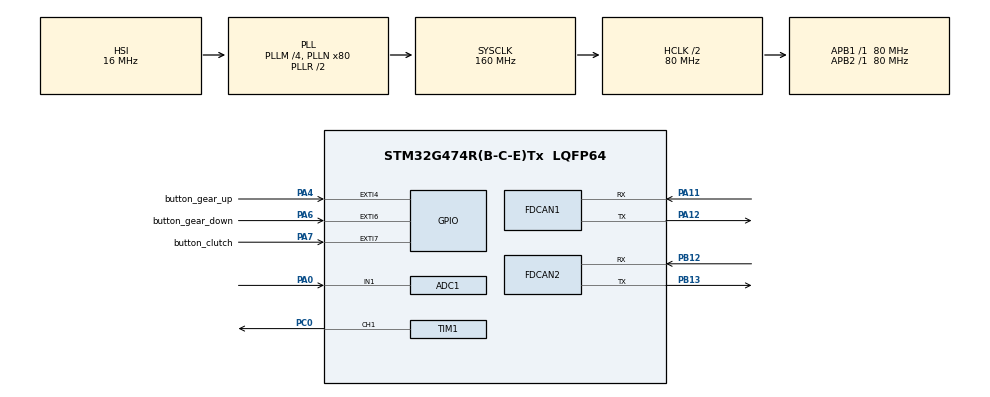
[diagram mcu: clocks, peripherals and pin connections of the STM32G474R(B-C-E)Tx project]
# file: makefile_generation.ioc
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ADC1.Channel-4\#ChannelRegularConversion=ADC_CHANNEL_1
ADC1.ContinuousConvMode=ENABLE
ADC1.NbrOfConversionFlag=1
ADC1.OffsetNumber-4\#ChannelRegularConversion=ADC_OFFSET_NONE
ADC1.Overrun=ADC_OVR_DATA_OVERWRITTEN
ADC1.Rank-4\#ChannelRegularConversion=1
ADC1.SamplingTime-4\#ChannelRegularConversion=ADC_SAMPLETIME_2CYCLES_5
ADC1.master=1
Dma.Request0=TIM1_CH1
Dma.TIM1_CH1.0.Direction=DMA_MEMORY_TO_PERIPH
Dma.TIM1_CH1.0.EventEnable=DISABLE
Dma.TIM1_CH1.0.Instance=DMA1_Channel1
Dma.TIM1_CH1.0.MemDataAlignment=DMA_MDATAALIGN_HALFWORD
Dma.TIM1_CH1.0.MemInc=DMA_MINC_ENABLE
Dma.TIM1_CH1.0.Mode=DMA_NORMAL
Dma.TIM1_CH1.0.PeriphDataAlignment=DMA_PDATAALIGN_HALFWORD
Dma.TIM1_CH1.0.PeriphInc=DMA_PINC_DISABLE
Dma.TIM1_CH1.0.Polarity=HAL_DMAMUX_REQ_GEN_RISING
Dma.TIM1_CH1.0.Priority=DMA_PRIORITY_HIGH
Dma.TIM1_CH1.0.RequestNumber=1
Dma.TIM1_CH1.0.SignalID=NONE
Dma.TIM1_CH1.0.SyncEnable=DISABLE
Dma.TIM1_CH1.0.SyncPolarity=HAL_DMAMUX_SYNC_NO_EVENT
Dma.TIM1_CH1.0.SyncRequestNumber=1
Dma.TIM1_CH1.0.SyncSignalID=NONE
FDCAN1.AutoRetransmission=ENABLE
FDCAN1.CalculateBaudRateNominal=500000
FDCAN1.CalculateTimeBitNominal=2000
FDCAN1.CalculateTimeQuantumNominal=100.0
FDCAN1.DataTimeSeg1=15
FDCAN1.DataTimeSeg2=4
FDCAN1.Mode=FDCAN_MODE_EXTERNAL_LOOPBACK
FDCAN1.NominalPrescaler=8
FDCAN1.NominalTimeSeg1=15
FDCAN1.NominalTimeSeg2=4
FDCAN2.CalculateBaudRateNominal=500000
FDCAN2.CalculateTimeBitNominal=2000
FDCAN2.CalculateTimeQuantumNominal=100.0
FDCAN2.DataTimeSeg1=15
FDCAN2.DataTimeSeg2=4
FDCAN2.Mode=FDCAN_MODE_BUS_MONITORING
FDCAN2.NominalPrescaler=8
FDCAN2.NominalTimeSeg1=15
FDCAN2.NominalTimeSeg2=4
Mcu.Family=STM32G4
Mcu.Name=STM32G474R(B-C-E)Tx
Mcu.Package=LQFP64
NUCLEO-G474RE.BUTTON=1
NUCLEO-G474RE.LD2=true
NUCLEO-G474RE.VCP=true
NVIC.DMA1_Channel1_IRQn=true\:0\:0\:false\:false\:true\:false\:true\:true
NVIC.EXTI15_10_IRQn=true\:0\:0\:false\:false\:true\:false\:true\:true
NVIC.EXTI4_IRQn=true\:0\:0\:false\:false\:true\:true\:true\:true
NVIC.EXTI9_5_IRQn=true\:0\:0\:false\:false\:true\:true\:true\:true
NVIC.FDCAN1_IT0_IRQn=true\:0\:0\:false\:false\:true\:true\:true\:true
NVIC.FDCAN2_IT0_IRQn=true\:0\:0\:false\:false\:true\:true\:true\:true
NVIC.PriorityGroup=NVIC_PRIORITYGROUP_4
PA0.Mode=IN1-Single-Ended
PA0.Signal=ADC1_IN1
PA11.Mode=FDCAN_Activate
PA11.Signal=FDCAN1_RX
PA12.Mode=FDCAN_Activate
PA12.Signal=FDCAN1_TX
PA13.GPIO_Label=T_SWDIO
PA13.Signal=SYS_JTMS-SWDIO
PA14.GPIO_Label=T_SWCLK
PA14.Signal=SYS_JTCK-SWCLK
PA2.Signal=LPUART1_TX
PA3.Signal=LPUART1_RX
PA4.GPIO_Label=button_gear_up
PA4.GPIO_ModeDefaultEXTI=GPIO_MODE_IT_RISING
PA4.GPIO_PuPd=GPIO_PULLDOWN
PA4.Signal=GPXTI4
PA6.GPIO_Label=button_gear_down
PA6.GPIO_PuPd=GPIO_PULLDOWN
PA6.Signal=GPXTI6
PA7.GPIO_Label=button_clutch
PA7.GPIO_ModeDefaultEXTI=GPIO_MODE_IT_RISING_FALLING
PA7.GPIO_PuPd=GPIO_PULLDOWN
PA7.Signal=GPXTI7
PB12.Mode=FDCAN_Activate
PB12.Signal=FDCAN2_RX
PB13.Mode=FDCAN_Activate
PB13.Signal=FDCAN2_TX
PB3.GPIO_Label=T_SWO
PB3.Signal=SYS_JTDO-SWO
PC0.Signal=S_TIM1_CH1
PC14-OSC32_IN.GPIO_Label=RCC_OSC32_IN
PC14-OSC32_IN.Signal=RCC_OSC32_IN
PC15-OSC32_OUT.GPIO_Label=RCC_OSC32_OUT
PC15-OSC32_OUT.Signal=RCC_OSC32_OUT
PF0-OSC_IN.GPIO_Label=RCC_OSC_IN
PF0-OSC_IN.Signal=RCC_OSC_IN
PF1-OSC_OUT.GPIO_Label=RCC_OSC_OUT
PF1-OSC_OUT.Signal=RCC_OSC_OUT
ProjectManager.HeapSize=0x200
ProjectManager.StackSize=0x400
ProjectManager.TargetToolchain=Makefile
RCC.ADC12Freq_Value=160000000
RCC.ADC345Freq_Value=160000000
RCC.AHBCLKDivider=RCC_SYSCLK_DIV2
RCC.AHBFreq_Value=80000000
RCC.APB1Freq_Value=80000000
RCC.APB1TimFreq_Value=80000000
RCC.APB2Freq_Value=80000000
RCC.APB2TimFreq_Value=80000000
RCC.CortexFreq_Value=80000000
RCC.EXTERNAL_CLOCK_VALUE=12288000
RCC.HCLKFreq_Value=80000000
RCC.HSE_VALUE=24000000
RCC.HSI48_VALUE=48000000
RCC.HSI_VALUE=16000000
RCC.LSE_VALUE=32768
RCC.PLLM=RCC_PLLM_DIV4
RCC.PLLN=80
RCC.RTCClockSelection=RCC_RTCCLKSOURCE_LSE
RCC.SYSCLKFreq_VALUE=160000000
RCC.SYSCLKSource=RCC_SYSCLKSOURCE_PLLCLK
RCC.USBFreq_Value=160000000
RCC.VCOOutputFreq_Value=320000000
SH.S_TIM1_CH1.0=TIM1_CH1,PWM Generation1 CH1
TIM1.Channel-PWM\ Generation1\ CH1=TIM_CHANNEL_1
TIM1.PeriodNoDither=99
VP_NUCLEO-G474RE_VS_BSP_COMMON.Mode=COMMON
VP_SYS_VS_DBSignals.Mode=DisableDeadBatterySignals
board=NUCLEO-G474RE

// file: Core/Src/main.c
/* USER CODE BEGIN Header */
/**
  ******************************************************************************
  * @file           : main.c
  * @brief          : Main program body
  ******************************************************************************
  * @attention
  *
  * Copyright (c) 2026 STMicroelectronics.
  * All rights reserved.
  *
  * This software is licensed under terms that can be found in the LICENSE file
  * in the root directory of this software component.
  * If no LICENSE file comes with this software, it is provided AS-IS.
  *
  ******************************************************************************
  */
/* USER CODE END Header */
#include "main.h"

/* USER CODE BEGIN Includes */
#include "led.h"
#include "rev_match.h"
#include "stm32g4xx_hal_gpio.h"
#include "can.h"
#include <stdint.h>
/* USER CODE END Includes */

COM_InitTypeDef BspCOMInit;
ADC_HandleTypeDef hadc1;

FDCAN_HandleTypeDef hfdcan1;
FDCAN_HandleTypeDef hfdcan2;

TIM_HandleTypeDef htim1;
DMA_HandleTypeDef hdma_tim1_ch1;

/* USER CODE BEGIN PV */

//CAN debug variables
uint32_t send_tracker = 0;
volatile uint32_t receive_tracker = 0;
volatile uint32_t tx_free_level;

FDCAN_RxHeaderTypeDef RxHeader;
uint8_t RxData[8];
volatile uint8_t new_can_msg_flag = 0;
bool isError = false;
bool debounce_prevented = false;

uint8_t tx_fifo_full_error = 0;     // Flips to 1 when TX FIFO runs out of room
uint32_t tx_fail_count = 0;         // Tracks total failed transmission attempts
uint32_t fdcan_last_error_code = 0; // Captures HAL error return value

//led strip variables
uint16_t led_index = 20;

//adc variables
uint32_t adc_val;

//rev match global variable instantiation
uint8_t current_gear = FIRST_GEAR;
uint32_t current_speed; // in mph
uint16_t current_rpm;
bool clutch = false; //true indicates pedal pressed, false indicates pedal not pressed
uint8_t fall_rate = 1;
uint32_t last_fall_time = 0;

uint8_t gear_polarity = 1;

volatile VehicleData_t test_struct = {0};

/* USER CODE END PV */

void SystemClock_Config(void);
static void MX_GPIO_Init(void);
static void MX_DMA_Init(void);
static void MX_FDCAN1_Init(void);
static void MX_FDCAN2_Init(void);
static void MX_TIM1_Init(void);
static void MX_ADC1_Init(void);

int main(void)
{

  /* MCU Configuration--------------------------------------------------------*/

  /* Reset of all peripherals, Initializes the Flash interface and the Systick. */
  HAL_Init();

  /* Configure the system clock */
  SystemClock_Config();

  /* Initialize all configured peripherals */
  MX_GPIO_Init();
  MX_DMA_Init();
  MX_FDCAN1_Init();
  MX_FDCAN2_Init();
  MX_TIM1_Init();
  MX_ADC1_Init();

  /* Initialize led */
  BSP_LED_Init(LED_GREEN);

  /* Initialize USER push-button, will be used to trigger an interrupt each time it's pressed.*/
  BSP_PB_Init(BUTTON_USER, BUTTON_MODE_EXTI);

  /* Initialize COM1 port (115200, 8 bits (7-bit data + 1 stop bit), no parity */
  BspCOMInit.BaudRate   = 115200;
  BspCOMInit.WordLength = COM_WORDLENGTH_8B;
  BspCOMInit.StopBits   = COM_STOPBITS_1;
  BspCOMInit.Parity     = COM_PARITY_NONE;
  BspCOMInit.HwFlowCtl  = COM_HWCONTROL_NONE;
  if (BSP_COM_Init(COM1, &BspCOMInit) != BSP_ERROR_NONE)
  {
    Error_Handler();
  }

  /* Infinite loop */
  /* USER CODE BEGIN WHILE */

  CAN_App_Init();

HAL_ADC_Start(&hadc1);
  while (1)
  {
    //rev_match demo
    // Static variable to remember the last filtered value across loop iterations
//     static uint32_t smoothed_adc = 0;

//     // Grab raw potentiometer value
//     uint32_t raw_adc = HAL_ADC_GetValue(&hadc1);

//     if (smoothed_adc == 0) {
//     smoothed_adc = raw_adc; // Initialize on first run
//     } else {
//     // Low-pass filter: 7/8 old value + 1/8 new value
//     // Increase the divisor (e.g., to 16) for more smoothing, decrease for faster response
//     smoothed_adc = (smoothed_adc * 15 + raw_adc) / 16;
// }

// // Translate the smoothed value to RPM
// current_rpm = ((smoothed_adc * 8000) / 4096);
//     //calculate current_wheelspeed from current_rpm IF CLUTCH NOT PRESSED
//     if(!clutch) //speed is a function of rpm
//       current_speed = ((float)current_rpm * 80.0f) / (1056.0f * gear_ratios[current_gear] * 4.1f);
//     else{
//       uint32_t current_time = HAL_GetTick();
//       if (current_time - last_fall_time >= 200) // Drops by 1 every 100ms
//       {
//         if (current_speed > 0)
//         {
//           current_speed--;
//         }
//         last_fall_time = current_time;
//       }
//     }

    //now finally call rev_match update function
    CAN_GetLatestData(&test_struct);
    current_rpm = test_struct.engine_rpm;
    clutch = test_struct.clutch_pressed;
    current_gear = test_struct.current_gear;
    //take back right wheel speed as true speed for now
    //if(!clutch)
      current_speed = test_struct.br_speed;
    //else
    //  current_speed = calculate_speed_from_rpm(current_rpm, current_gear);
    rev_match_update();

    //potentiometer test
    //adc_val = HAL_ADC_GetValue(&hadc1);
    /* Scale 0-4095 to valid LED indices */
    //uint16_t target_led = (uint16_t)(((uint32_t)adc_val * NUM_LEDS) >> 12);
    //if (target_led >= NUM_LEDS) target_led = NUM_LEDS - 1;
    //SK6812_Clear_All_LED();
    //SK6812_SetLED(target_led, 0, 40, 40);
    //SK6812_Update();

    /* USER CODE END WHILE */

  }
}

void SystemClock_Config(void)
{
  RCC_OscInitTypeDef RCC_OscInitStruct = {0};
  RCC_ClkInitTypeDef RCC_ClkInitStruct = {0};

  /** Configure the main internal regulator output voltage
  */
  HAL_PWREx_ControlVoltageScaling(PWR_REGULATOR_VOLTAGE_SCALE1);

  /** Initializes the RCC Oscillators according to the specified parameters
  * in the RCC_OscInitTypeDef structure.
  */
  RCC_OscInitStruct.OscillatorType = RCC_OSCILLATORTYPE_HSI;
  RCC_OscInitStruct.HSIState = RCC_HSI_ON;
  RCC_OscInitStruct.HSICalibrationValue = RCC_HSICALIBRATION_DEFAULT;
  RCC_OscInitStruct.PLL.PLLState = RCC_PLL_ON;
  RCC_OscInitStruct.PLL.PLLSource = RCC_PLLSOURCE_HSI;
  RCC_OscInitStruct.PLL.PLLM = RCC_PLLM_DIV4;
  RCC_OscInitStruct.PLL.PLLN = 80;
  RCC_OscInitStruct.PLL.PLLP = RCC_PLLP_DIV2;
  RCC_OscInitStruct.PLL.PLLQ = RCC_PLLQ_DIV2;
  RCC_OscInitStruct.PLL.PLLR = RCC_PLLR_DIV2;
  if (HAL_RCC_OscConfig(&RCC_OscInitStruct) != HAL_OK)
  {
    Error_Handler();
  }

  /** Initializes the CPU, AHB and APB buses clocks
  */
  RCC_ClkInitStruct.ClockType = RCC_CLOCKTYPE_HCLK|RCC_CLOCKTYPE_SYSCLK
                              |RCC_CLOCKTYPE_PCLK1|RCC_CLOCKTYPE_PCLK2;
  RCC_ClkInitStruct.SYSCLKSource = RCC_SYSCLKSOURCE_PLLCLK;
  RCC_ClkInitStruct.AHBCLKDivider = RCC_SYSCLK_DIV2;
  RCC_ClkInitStruct.APB1CLKDivider = RCC_HCLK_DIV1;
  RCC_ClkInitStruct.APB2CLKDivider = RCC_HCLK_DIV1;

  if (HAL_RCC_ClockConfig(&RCC_ClkInitStruct, FLASH_LATENCY_2) != HAL_OK)
  {
    Error_Handler();
  }
}

static void MX_ADC1_Init(void)
{

  ADC_MultiModeTypeDef multimode = {0};
  ADC_ChannelConfTypeDef sConfig = {0};

  /** Common config
  */
  hadc1.Instance = ADC1;
  hadc1.Init.ClockPrescaler = ADC_CLOCK_SYNC_PCLK_DIV2;
  hadc1.Init.Resolution = ADC_RESOLUTION_12B;
  hadc1.Init.DataAlign = ADC_DATAALIGN_RIGHT;
  hadc1.Init.GainCompensation = 0;
  hadc1.Init.ScanConvMode = ADC_SCAN_DISABLE;
  hadc1.Init.EOCSelection = ADC_EOC_SINGLE_CONV;
  hadc1.Init.LowPowerAutoWait = DISABLE;
  hadc1.Init.ContinuousConvMode = ENABLE;
  hadc1.Init.NbrOfConversion = 1;
  hadc1.Init.DiscontinuousConvMode = DISABLE;
  hadc1.Init.ExternalTrigConv = ADC_SOFTWARE_START;
  hadc1.Init.ExternalTrigConvEdge = ADC_EXTERNALTRIGCONVEDGE_NONE;
  hadc1.Init.DMAContinuousRequests = DISABLE;
  hadc1.Init.Overrun = ADC_OVR_DATA_OVERWRITTEN;
  hadc1.Init.OversamplingMode = DISABLE;
  if (HAL_ADC_Init(&hadc1) != HAL_OK)
  {
    Error_Handler();
  }

  /** Configure the ADC multi-mode
  */
  multimode.Mode = ADC_MODE_INDEPENDENT;
  if (HAL_ADCEx_MultiModeConfigChannel(&hadc1, &multimode) != HAL_OK)
  {
    Error_Handler();
  }

  /** Configure Regular Channel
  */
  sConfig.Channel = ADC_CHANNEL_1;
  sConfig.Rank = ADC_REGULAR_RANK_1;
  sConfig.SamplingTime = ADC_SAMPLETIME_2CYCLES_5;
  sConfig.SingleDiff = ADC_SINGLE_ENDED;
  sConfig.OffsetNumber = ADC_OFFSET_NONE;
  sConfig.Offset = 0;
  if (HAL_ADC_ConfigChannel(&hadc1, &sConfig) != HAL_OK)
  {
    Error_Handler();
  }

}

static void MX_FDCAN1_Init(void)
{

  /* USER CODE BEGIN FDCAN1_Init 0 */
HAL_NVIC_SetPriority(FDCAN1_IT0_IRQn, 0, 0);
HAL_NVIC_EnableIRQ(FDCAN1_IT0_IRQn);
  /* USER CODE END FDCAN1_Init 0 */

  hfdcan1.Instance = FDCAN1;
  hfdcan1.Init.ClockDivider = FDCAN_CLOCK_DIV1;
  hfdcan1.Init.FrameFormat = FDCAN_FRAME_CLASSIC;
  hfdcan1.Init.Mode = FDCAN_MODE_EXTERNAL_LOOPBACK;
  hfdcan1.Init.AutoRetransmission = ENABLE;
  hfdcan1.Init.TransmitPause = DISABLE;
  hfdcan1.Init.ProtocolException = DISABLE;
  hfdcan1.Init.NominalPrescaler = 8;
  hfdcan1.Init.NominalSyncJumpWidth = 1;
  hfdcan1.Init.NominalTimeSeg1 = 15;
  hfdcan1.Init.NominalTimeSeg2 = 4;
  hfdcan1.Init.DataPrescaler = 1;
  hfdcan1.Init.DataSyncJumpWidth = 1;
  hfdcan1.Init.DataTimeSeg1 = 15;
  hfdcan1.Init.DataTimeSeg2 = 4;
  hfdcan1.Init.StdFiltersNbr = 0;
  hfdcan1.Init.ExtFiltersNbr = 0;
  hfdcan1.Init.TxFifoQueueMode = FDCAN_TX_FIFO_OPERATION;
  if (HAL_FDCAN_Init(&hfdcan1) != HAL_OK)
  {
    Error_Handler();
  }

}

static void MX_FDCAN2_Init(void)
{

  hfdcan2.Instance = FDCAN2;
  hfdcan2.Init.ClockDivider = FDCAN_CLOCK_DIV1;
  hfdcan2.Init.FrameFormat = FDCAN_FRAME_CLASSIC;
  hfdcan2.Init.Mode = FDCAN_MODE_BUS_MONITORING;
  hfdcan2.Init.AutoRetransmission = DISABLE;
  hfdcan2.Init.TransmitPause = DISABLE;
  hfdcan2.Init.ProtocolException = DISABLE;
  hfdcan2.Init.NominalPrescaler = 8;
  hfdcan2.Init.NominalSyncJumpWidth = 1;
  hfdcan2.Init.NominalTimeSeg1 = 15;
  hfdcan2.Init.NominalTimeSeg2 = 4;
  hfdcan2.Init.DataPrescaler = 1;
  hfdcan2.Init.DataSyncJumpWidth = 1;
  hfdcan2.Init.DataTimeSeg1 = 15;
  hfdcan2.Init.DataTimeSeg2 = 4;
  hfdcan2.Init.StdFiltersNbr = 0;
  hfdcan2.Init.ExtFiltersNbr = 0;
  hfdcan2.Init.TxFifoQueueMode = FDCAN_TX_FIFO_OPERATION;
  if (HAL_FDCAN_Init(&hfdcan2) != HAL_OK)
  {
    Error_Handler();
  }

}

static void MX_TIM1_Init(void)
{

  TIM_MasterConfigTypeDef sMasterConfig = {0};
  TIM_OC_InitTypeDef sConfigOC = {0};
  TIM_BreakDeadTimeConfigTypeDef sBreakDeadTimeConfig = {0};

  htim1.Instance = TIM1;
  htim1.Init.Prescaler = 0;
  htim1.Init.CounterMode = TIM_COUNTERMODE_UP;
  htim1.Init.Period = 99;
  htim1.Init.ClockDivision = TIM_CLOCKDIVISION_DIV1;
  htim1.Init.RepetitionCounter = 0;
  htim1.Init.AutoReloadPreload = TIM_AUTORELOAD_PRELOAD_DISABLE;
  if (HAL_TIM_PWM_Init(&htim1) != HAL_OK)
  {
    Error_Handler();
  }
  sMasterConfig.MasterOutputTrigger = TIM_TRGO_RESET;
  sMasterConfig.MasterOutputTrigger2 = TIM_TRGO2_RESET;
  sMasterConfig.MasterSlaveMode = TIM_MASTERSLAVEMODE_DISABLE;
  if (HAL_TIMEx_MasterConfigSynchronization(&htim1, &sMasterConfig) != HAL_OK)
  {
    Error_Handler();
  }
  sConfigOC.OCMode = TIM_OCMODE_PWM1;
  sConfigOC.Pulse = 0;
  sConfigOC.OCPolarity = TIM_OCPOLARITY_HIGH;
  sConfigOC.OCNPolarity = TIM_OCNPOLARITY_HIGH;
  sConfigOC.OCFastMode = TIM_OCFAST_DISABLE;
  sConfigOC.OCIdleState = TIM_OCIDLESTATE_RESET;
  sConfigOC.OCNIdleState = TIM_OCNIDLESTATE_RESET;
  if (HAL_TIM_PWM_ConfigChannel(&htim1, &sConfigOC, TIM_CHANNEL_1) != HAL_OK)
  {
    Error_Handler();
  }
  sBreakDeadTimeConfig.OffStateRunMode = TIM_OSSR_DISABLE;
  sBreakDeadTimeConfig.OffStateIDLEMode = TIM_OSSI_DISABLE;
  sBreakDeadTimeConfig.LockLevel = TIM_LOCKLEVEL_OFF;
  sBreakDeadTimeConfig.DeadTime = 0;
  sBreakDeadTimeConfig.BreakState = TIM_BREAK_DISABLE;
  sBreakDeadTimeConfig.BreakPolarity = TIM_BREAKPOLARITY_HIGH;
  sBreakDeadTimeConfig.BreakFilter = 0;
  sBreakDeadTimeConfig.BreakAFMode = TIM_BREAK_AFMODE_INPUT;
  sBreakDeadTimeConfig.Break2State = TIM_BREAK2_DISABLE;
  sBreakDeadTimeConfig.Break2Polarity = TIM_BREAK2POLARITY_HIGH;
  sBreakDeadTimeConfig.Break2Filter = 0;
  sBreakDeadTimeConfig.Break2AFMode = TIM_BREAK_AFMODE_INPUT;
  sBreakDeadTimeConfig.AutomaticOutput = TIM_AUTOMATICOUTPUT_DISABLE;
  if (HAL_TIMEx_ConfigBreakDeadTime(&htim1, &sBreakDeadTimeConfig) != HAL_OK)
  {
    Error_Handler();
  }
  HAL_TIM_MspPostInit(&htim1);

}

static void MX_DMA_Init(void)
{

  /* DMA controller clock enable */
  __HAL_RCC_DMAMUX1_CLK_ENABLE();
  __HAL_RCC_DMA1_CLK_ENABLE();

  /* DMA interrupt init */
  /* DMA1_Channel1_IRQn interrupt configuration */
  HAL_NVIC_SetPriority(DMA1_Channel1_IRQn, 0, 0);
  HAL_NVIC_EnableIRQ(DMA1_Channel1_IRQn);

}

static void MX_GPIO_Init(void)
{
  GPIO_InitTypeDef GPIO_InitStruct = {0};

  /* GPIO Ports Clock Enable */
  __HAL_RCC_GPIOC_CLK_ENABLE();
  __HAL_RCC_GPIOF_CLK_ENABLE();
  __HAL_RCC_GPIOA_CLK_ENABLE();
  __HAL_RCC_GPIOB_CLK_ENABLE();

  /*Configure GPIO pins : button_gear_up_Pin button_gear_down_Pin */
  GPIO_InitStruct.Pin = button_gear_up_Pin|button_gear_down_Pin;
  GPIO_InitStruct.Mode = GPIO_MODE_IT_RISING;
  GPIO_InitStruct.Pull = GPIO_PULLDOWN;
  HAL_GPIO_Init(GPIOA, &GPIO_InitStruct);

  /*Configure GPIO pin : button_clutch_Pin */
  GPIO_InitStruct.Pin = button_clutch_Pin;
  GPIO_InitStruct.Mode = GPIO_MODE_IT_RISING_FALLING;
  GPIO_InitStruct.Pull = GPIO_PULLDOWN;
  HAL_GPIO_Init(button_clutch_GPIO_Port, &GPIO_InitStruct);

  /* EXTI interrupt init*/
  HAL_NVIC_SetPriority(EXTI4_IRQn, 0, 0);
  HAL_NVIC_EnableIRQ(EXTI4_IRQn);

  HAL_NVIC_SetPriority(EXTI9_5_IRQn, 0, 0);
  HAL_NVIC_EnableIRQ(EXTI9_5_IRQn);

}

/* USER CODE BEGIN 4 */

/* USER CODE BEGIN 4 */

void HAL_GPIO_EXTI_Callback(uint16_t GPIO_Pin)
{
  uint32_t current_time = HAL_GetTick();
  static uint32_t button_last = 0;

  if(current_time-button_last > 50){ //can do this since we know all interrupts are buttons
    if (GPIO_Pin == button_clutch_Pin){
        clutch = HAL_GPIO_ReadPin(button_clutch_GPIO_Port, button_clutch_Pin) == GPIO_PIN_SET;
    }
    else if (GPIO_Pin == button_gear_up_Pin){
      if(current_gear != SIXTH_GEAR) {current_gear++;}
    }
    else if (GPIO_Pin == button_gear_down_Pin){
      if (current_gear != FIRST_GEAR) {current_gear--;}
    }

    button_last = current_time;
    BSP_LED_Toggle(LED_GREEN);
  }
}

void BSP_PB_Callback(Button_TypeDef Button)
{
  static uint32_t last_press_time = 0;
  uint32_t current_time = HAL_GetTick();

  if (Button == BUTTON_USER)
  {
    /* Ignore mechanical bounces within 50 ms */
    if ((current_time - last_press_time) < 50)
    {
      debounce_prevented = true;
      return;
    }
    last_press_time = current_time;

    FDCAN_TxHeaderTypeDef TxHeader;
    uint8_t TxData[8] = {0x03, 0x3B, 0xA7, 0x00, 0x00, 0x00, 0x00, 0x00};

    TxHeader.Identifier          = 0x7C0;
    TxHeader.IdType              = FDCAN_STANDARD_ID;
    TxHeader.TxFrameType         = FDCAN_DATA_FRAME;
    TxHeader.DataLength          = FDCAN_DLC_BYTES_8;
    TxHeader.ErrorStateIndicator = FDCAN_ESI_ACTIVE;
    TxHeader.BitRateSwitch       = FDCAN_BRS_OFF;
    TxHeader.FDFormat            = FDCAN_CLASSIC_CAN;
    TxHeader.TxEventFifoControl  = FDCAN_NO_TX_EVENTS;
    TxHeader.MessageMarker       = 0;

    /* Check free space before queueing */
    if (HAL_FDCAN_GetTxFifoFreeLevel(&hfdcan2) > 0)
    {
      if (HAL_FDCAN_AddMessageToTxFifoQ(&hfdcan2, &TxHeader, TxData) == HAL_OK){
        send_tracker++;

        tx_free_level = HAL_FDCAN_GetTxFifoFreeLevel(&hfdcan2);
      }
    }
    else
    {
      tx_fifo_full_error = 1;
      tx_fail_count++;
    }
  }
}

/* USER CODE END 4 */

void Error_Handler(void)
{
  /* USER CODE BEGIN Error_Handler_Debug */
  /* User can add his own implementation to report the HAL error return state */
  __disable_irq();

  isError = true;

  while (1)
  {
  }
  /* USER CODE END Error_Handler_Debug */
}
